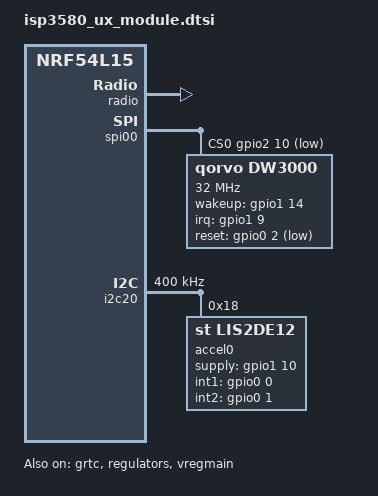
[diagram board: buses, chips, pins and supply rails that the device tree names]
#include <nordic/nrf54l15_cpuapp.dtsi>
#include "isp3580_ux_module-pinctrl.dtsi"
#include <zephyr/dt-bindings/input/input-event-codes.h>

/ {
	chosen {
		zephyr,code-partition = &slot0_partition;
		zephyr,sram = &cpuapp_sram;
		zephyr,flash-controller = &rram_controller;
		zephyr,flash = &cpuapp_rram;
		zephyr,ieee802154 = &ieee802154;
	};

	aliases {
		watchdog0 = &wdt31;
	};
};

&grtc {
	owned-channels = <0 1 2 3 4 5 6 7 8 9 10 11>;
	/* Channels 7-11 reserved for Zero Latency IRQs, 3-4 for FLPR */
	child-owned-channels = <3 4 7 8 9 10 11>;
	status = "okay";
};

&lfxo {
	load-capacitors = "internal";
	load-capacitance-femtofarad = <15500>;
};

&hfxo {
	load-capacitors = "internal";
	load-capacitance-femtofarad = <15000>;
};

&clock {
	status = "okay";
};

&regulators {
	status = "okay";
};

&vregmain {
	status = "okay";
	regulator-initial-mode = <NRF5X_REG_MODE_DCDC>;
};

&radio {
	status = "okay";
};

&cpuapp_sram {
	status = "okay";
};

&cpuapp_rram {
	partitions {
		compatible = "fixed-partitions";
		#address-cells = <1>;
		#size-cells = <1>;
		boot_partition: partition@0 {
			label = "mcuboot";
			reg = <0x0 DT_SIZE_K(64)>;
		};
		slot0_partition: partition@10000 {
			label = "image-0";
			reg = <0x10000 DT_SIZE_K(324)>;
		};
		slot0_ns_partition: partition@61000 {
			label = "image-0-nonsecure";
			reg = <0x61000 DT_SIZE_K(324)>;
		};
		slot1_partition: partition@b2000 {
			label = "image-1";
			reg = <0xb2000 DT_SIZE_K(324)>;
		};
		slot1_ns_partition: partition@103000 {
			label = "image-1-nonsecure";
			reg = <0x103000 DT_SIZE_K(324)>;
		};
		/* 32k from 0x154000 to 0x15bfff reserved for TF-M partitions */
		storage_partition: partition@15c000 {
			label = "storage";
			reg = <0x15c000 DT_SIZE_K(36)>;
		};
	};
};

&gpio0 {
	status = "okay";
};

&gpio1 {
	status = "okay";
};

&gpio2 {
	status = "okay";
};

&gpiote20 {
	status = "okay";
};

&gpiote30 {
	status = "okay";
};

&spi00 {
	status = "okay";
	cs-gpios = <&gpio2 10 GPIO_ACTIVE_LOW>;
	pinctrl-0 = <&spi00_default>;
	pinctrl-1 = <&spi00_sleep>;
	pinctrl-names = "default", "sleep";
	
	dw3000@0 {
        compatible = "qorvo,dw3000";
        spi-max-frequency = <32000000>;
        reg = <0>;
        wakeup-gpios  = <&gpio1 14 GPIO_ACTIVE_HIGH>; 
        irq-gpios     = <&gpio1 9 GPIO_ACTIVE_HIGH>;
        reset-gpios   = <&gpio0 2 GPIO_ACTIVE_LOW>; 
    };
};

&i2c20 {
	status = "okay";
	compatible = "nordic,nrf-twim";
	pinctrl-0 = <&i2c20_default>;
	pinctrl-1 = <&i2c20_sleep>;
	pinctrl-names = "default", "sleep";
	clock-frequency = <I2C_BITRATE_FAST>;
	accel0: lis2de12@18 {
		compatible = "st,lis2de12";
		reg = <0x18>;
		status = "okay";
		supply-gpios = <&gpio1 10 GPIO_ACTIVE_HIGH>;
		int1-gpios = <&gpio0 0 GPIO_ACTIVE_HIGH>;
		int2-gpios = <&gpio0 1 GPIO_ACTIVE_HIGH>;
		accel-range = <0>;
		accel-odr = <0>;
		drdy-pulsed;
		zephyr,deferred-init;
	};
};
